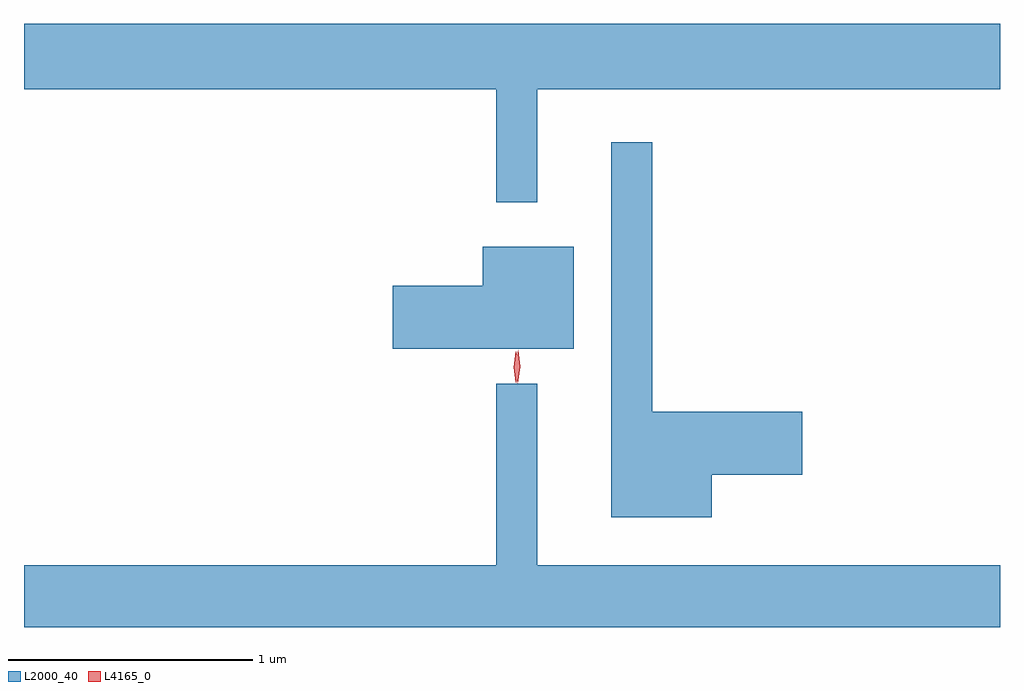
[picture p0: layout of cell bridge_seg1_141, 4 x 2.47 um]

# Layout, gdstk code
import gdstk
lib = gdstk.Library(unit=1e-6, precision=1e-09)
def P(c, l, *ps):  # polygons
    for p in ps: c.add(gdstk.Polygon(p, *l))
L2000_40 = (2000, 40)
L4165_0 = (4165, 0)

bridge_seg1_141 = lib.new_cell('bridge_seg1_141')
P(bridge_seg1_141, L2000_40, [(963.659,939.536),(965.555,939.536),(965.555,939.804),(961.555,939.804),(961.555,939.536),(963.491,939.536),(963.491,939.073),(963.659,939.073)],
  [(964.374,937.956),(964.744,937.956),(964.744,938.214),(964.129,938.214),(964.129,939.318),(963.961,939.318),(963.961,937.781),(964.374,937.781)],
  [(963.809,938.889),(963.436,938.889),(963.436,938.729),(963.066,938.729),(963.066,938.471),(963.809,938.471)],
  [(965.555,937.584),(963.659,937.584),(963.659,938.328),(963.491,938.328),(963.491,937.584),(961.555,937.584),(961.555,937.33),(965.555,937.33)])
P(bridge_seg1_141, L4165_0, [(963.578,938.33),(963.578,938.33),(963.569,938.398),(963.58,938.465),(963.58,938.466),(963.58,938.465),(963.589,938.398),(963.579,938.33)],
  [(963.572,938.333),(963.571,938.334),(963.562,938.396),(963.571,938.459),(963.572,938.46),(963.572,938.459),(963.582,938.396),(963.572,938.334)])

lib.write_gds('bridge_seg1_141.gds')
